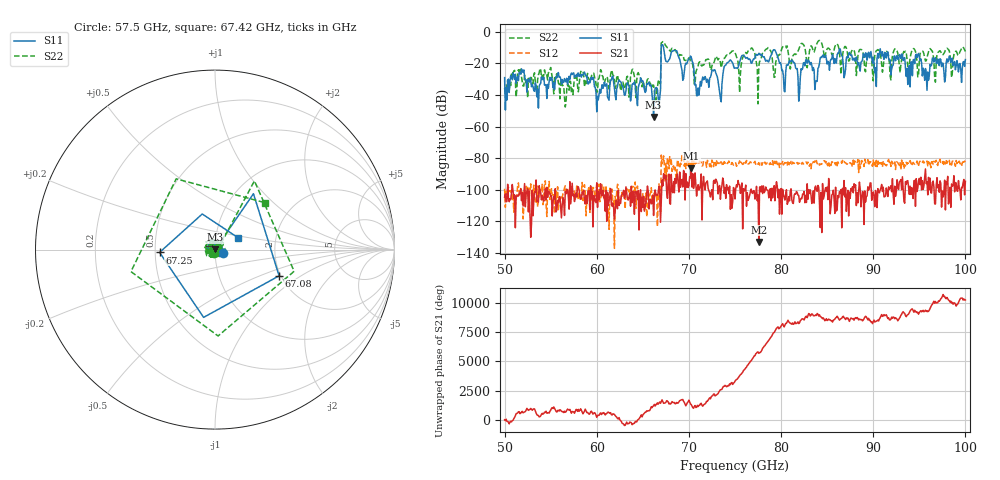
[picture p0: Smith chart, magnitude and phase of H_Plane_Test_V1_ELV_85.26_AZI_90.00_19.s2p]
! 11/27/2026 8:13:54 AM
! C:\ANRITSUVNA\TEMP\TEMP.S2P
! CHANNEL.1
! TR.MEASUREMENT
! RAW.DATA
# HZ S RI R 50.0
! FREQ.HZ  S11RE  S11IM  S21RE  S21IM  S12RE  S12IM  S22RE  S22IM
!; PortSelection: Port_12
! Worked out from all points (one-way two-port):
!   601 points, 50 GHz to 100 GHz, reference 50 ohm
!   highest |S21| = -86.33 dB at 70.25 GHz (marker M1); lowest = -133.0 dB at 77.58 GHz (marker M2)
!   lowest |S11| = -53.9 dB at 66.17 GHz (marker M3), VSWR 1.00, Z = 50.1 + j0.154 ohm
!   |S11| at or under -10 dB: start of sweep to 67 GHz; 67.24 GHz to end of sweep
!   |S22| runs from -47.7 to -5.6 dB; largest |S21 - S12| = 0.00015
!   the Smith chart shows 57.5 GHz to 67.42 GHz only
!   S11 on the Smith chart (normalised r, x): 57.5 GHz: 1.09, -0.04; 67.08 GHz: 1.96, -0.67; 67.25 GHz: 0.53, -0.02; 67.42 GHz: 1.29, +0.17
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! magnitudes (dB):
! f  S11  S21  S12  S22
! 50 GHz  -29.1  -104.6  -99.3  -35.7
! 57.5 GHz  -26.1  -102.8  -100.7  -34.4
! 58.42 GHz  -27.1  -101.5  -95.3  -24.7
! 60.17 GHz  -43.1  -101.2  -103.1  -30.2
! 66.17 GHz  -53.9  -116.2  -104.9  -33.9
! 66.67 GHz  -41.7  -102.0  -105.0  -31.6
! 67.08 GHz  -8.3  -93.8  -83.5  -6.8
! 67.25 GHz  -10.2  -89.8  -78.6  -6.3
! 67.42 GHz  -16.7  -93.2  -94.9  -8.3
! 70.25 GHz  -16.0  -86.3  -89.5  -18.7
! 70.92 GHz  -40.6  -98.8  -82.8  -22.9
! 75 GHz  -23.1  -105.8  -83.3  -13.0
! 77.58 GHz  -13.7  -133.0  -82.8  -22.0
! 78.5 GHz  -18.2  -100.2  -82.8  -10.8
! 79.33 GHz  -11.7  -106.9  -82.0  -28.7
! 80.25 GHz  -28.0  -103.1  -84.2  -9.3
! 83.42 GHz  -24.6  -105.7  -82.9  -10.9
! 91.67 GHz  -16.8  -98.1  -80.8  -15.3
! 93.75 GHz  -33.4  -94.2  -82.9  -21.7
! 94.83 GHz  -14.8  -98.9  -85.0  -28.6
! 95.83 GHz  -37.1  -94.8  -81.8  -16.4
! 100 GHz  -17.6  -94.6  -82.2  -12.6
